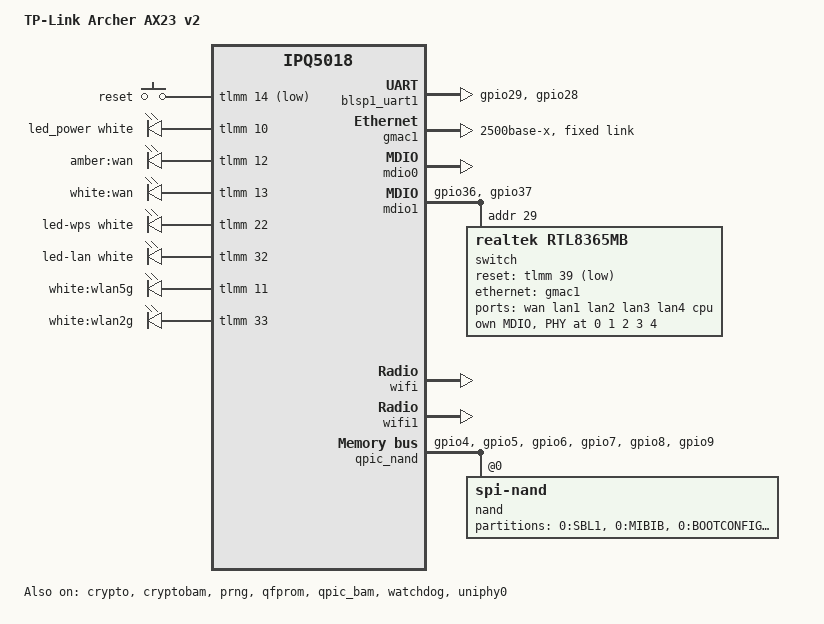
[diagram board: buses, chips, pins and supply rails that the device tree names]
// SPDX-License-Identifier: GPL-2.0-or-later OR MIT
/*
 * Device tree for TP-Link Archer AX23 v2
 *
 * SoC:    Qualcomm IPQ5018 (IPQ0509), Cortex-A53 dual-core
 * RAM:    256 MB DDR3 (CDT: AP-MP02.1_128M16_DDR3_LM256)
 * Flash:  SPI-NAND 128 MB, dual-image (rootfs + rootfs_1)
 * Switch: Realtek RTL8367 family D (chip ID 0x6642 per qca-ssdk.ko
 *         analysis; NOT yet read from the physical unit)
 *         Trunk on GMAC1 -> UNIPHY0 -> CPU port 6, reset GPIO39.
 *         Trunk mode is HSGMII 2.5G -- see the note above &gmac1.
 *         Matches the stock running.dts forced-speed and physical
 *         clock measurement. UNVERIFIED on hardware (no UART yet).
 * WiFi:   IPQ5018 internal (ath11k) 2.4 GHz
 *         QCN6102 (qcn6122 fw) 5 GHz via PCIe
 * UART:   GPIO28 (RX) / GPIO29 (TX), 115200 8N1, 1.8V
 *         Header JP1 — level-shifter SMDs removed by TP-Link
 *
 * Hardware confirmed via:
 *   - GPL source analysis (GPL_AX23v2.tar.gz)
 *   - OEM firmware 1.1.2 rootfs extraction + decryption
 *   - Stock kernel module analysis (qca-ssdk.ko ELF/L2P table/SerDes)
 *   - U-Boot DTB ax23_mp02.1.dtb extracted from kernel FIT image
 *   - OEM U-Boot DTB and UART logs reported by community member vram
 *     (physical hardware access, not this project's own) -- OpenWrt forum
 *     thread t/249493, see docs/HARDWARE.md and docs/CREDITS.md
 *   - partition_config/partition-table from rootfs
 *   - Physical clock measurement on live stock hardware (root shell via
 *     disclosed LuCI vulnerability, see docs/KNOWN-ISSUES.md): stock
 *     running.dts has forced-speed = <0x9c4> (2500) on ess-switch port@1;
 *     /sys/kernel/debug/clk/clk_summary reads gcc_uniphy_tx_clk,
 *     gcc_uniphy_rx_clk, gcc_gmac1_tx_clk, gcc_gmac1_rx_clk all at
 *     312,500,000 Hz, which matches HSGMII 2500Base-X line rate
 *     (312.5 MHz x 10-bit 8b/10b = 3.125 Gbps) and does not match
 *     SGMII 1G (which would read 125 MHz)
 *   - Switch reset GPIO read directly from the live device tree on real
 *     hardware (root shell): /proc/device-tree/soc/ess-instance/
 *     ess-switch1@1/reset_gpio = 0x27 (GPIO39). This supersedes the
 *     earlier GPIO33 assumption, which traced back to a UART boot log
 *     from a different physical unit (community member vram), not a
 *     direct reading of this device. GPIO33 is confirmed to be the
 *     2.4GHz LED, with no reset function
 *   - LED polarity and full 7-LED map confirmed 2026-11-12 by reading
 *     the live device tree runtime on stock hardware (root shell):
 *     /proc/device-tree/soc/leds/<name>/gpios for all 7 LEDs shows the
 *     GPIO_ACTIVE_LOW flag bit absent (flags field = 0) in every case,
 *     i.e. all 7 are GPIO_ACTIVE_HIGH per the gpio-specifier binding,
 *     not active-low as an earlier pass concluded from visual
 *     inspection alone. That earlier conclusion was wrong and is
 *     corrected here after community member Veraxis reported the
 *     power LED staying off in two separate hardware tests (v0.2 and
 *     v0.3 on an AX21 v5 identifying as this model).
 *     Still unverified: the phy0tpt/phy1tpt trigger assignment on the
 *     two WiFi LEDs below remains an inference from registration
 *     order, not confirmed against real phy0/phy1 enumeration. The
 *     polarity fix here does not touch or validate that assumption.
 */

/dts-v1/;

#include "ipq5018.dtsi"
#include "ipq5018-ess.dtsi"
#include "ipq5018-qcn6122.dtsi"

#include <dt-bindings/gpio/gpio.h>
#include <dt-bindings/input/input.h>
#include <dt-bindings/leds/common.h>
#include <dt-bindings/net/qca-uniphy.h>

/ {
	model = "TP-Link Archer AX23 v2";
	compatible = "tplink,archer-ax23-v2", "qcom,ipq5018";

	aliases {
		serial0 = &blsp1_uart1;
		ethernet1 = &gmac1;
		label-mac-device = <&gmac1>;
		led-boot = &led_power;
		led-failsafe = &led_power;
		led-running = &led_power;
		led-upgrade = &led_power;
	};

	chosen {
		stdout-path = "serial0:115200n8";
		bootargs-append = " root=/dev/ubiblock0_1 coherent_pool=2M";
	};

	keys {
		compatible = "gpio-keys";
		pinctrl-0 = <&button_pins>;
		pinctrl-names = "default";

		reset {
			label = "reset";
			gpios = <&tlmm 14 GPIO_ACTIVE_LOW>;
			linux,code = <KEY_RESTART>;
			debounce-interval = <60>;
		};
	};

	leds {
		compatible = "gpio-leds";
		pinctrl-0 = <&led_pins>;
		pinctrl-names = "default";

		led_power: led-power {
			function = LED_FUNCTION_POWER;
			color = <LED_COLOR_ID_WHITE>;
			gpios = <&tlmm 10 GPIO_ACTIVE_HIGH>;
			default-state = "on";
		};

		led-wan-orange {
			label = "amber:wan";
			gpios = <&tlmm 12 GPIO_ACTIVE_HIGH>;
		};

		led-wan {
			label = "white:wan";
			gpios = <&tlmm 13 GPIO_ACTIVE_HIGH>;
		};

		led-wps {
			function = LED_FUNCTION_WPS;
			color = <LED_COLOR_ID_WHITE>;
			gpios = <&tlmm 22 GPIO_ACTIVE_HIGH>;
		};

		led-lan {
			function = LED_FUNCTION_LAN;
			color = <LED_COLOR_ID_WHITE>;
			gpios = <&tlmm 32 GPIO_ACTIVE_HIGH>;
		};

		led-wifi-5g {
			label = "white:wlan5g";
			gpios = <&tlmm 11 GPIO_ACTIVE_HIGH>;
			linux,default-trigger = "phy0tpt";
		};

		/*
		 * phy1tpt is inferred, not boot-tested: &wifi (2.4GHz)
		 * is registered before &wifi1 (5GHz) in this DTS, and
		 * the 5GHz LED above already uses phy0tpt, so phy1 is
		 * assumed to map to the 2.4GHz radio by registration
		 * order. Confirm against actual phy0/phy1 enumeration
		 * on first real boot with both radios up.
		 */
		led-wifi-2g {
			label = "white:wlan2g";
			gpios = <&tlmm 33 GPIO_ACTIVE_HIGH>;
			linux,default-trigger = "phy1tpt";
		};
	};
};

&sleep_clk {
	clock-frequency = <32000>;
};

&xo_board_clk {
	clock-div = <4>;
	clock-mult = <1>;
};

&crypto { status = "okay"; };
&cryptobam { status = "okay"; };
&prng { status = "okay"; };
&qfprom { status = "okay"; };
&qpic_bam { status = "okay"; };
&watchdog { status = "okay"; };

&blsp1_uart1 {
	status = "okay";
	pinctrl-0 = <&serial_pins>;
	pinctrl-names = "default";
};

&gmac0 {
	status = "disabled";
};

/*
 * Trunk mode (GMAC1 <-> RTL8367 CPU port 6): HSGMII 2.5G.
 *
 * This device has five 1G physical ports (WAN + LAN1-4); no single
 * physical port on this SKU exceeds 1G. An earlier revision of this
 * DTS used that fact to argue for SGMII 1G instead, reasoning that
 * MODE_EXT_HSGMII / PORT_SPEED_2500M in the vendor U-Boot
 * (ipq5018_gmac.c, rtl8367_sw_init()) was generic SDK boilerplate
 * rather than a deliberate per-board choice, since that routine runs
 * unconditionally for any board with CONFIG_TP_EXT_SWITCH_RTL8367_ALL.
 *
 * That reasoning has been superseded by direct physical measurement.
 * The stock kernel's running.dts (the config that actually governs
 * runtime behaviour, not U-Boot's early generic bring-up) sets
 * forced-speed = <0x9c4> (2500) on this port, and reading
 * /sys/kernel/debug/clk/clk_summary on live stock hardware shows the
 * UNIPHY/GMAC1 tx and rx clocks locked at 312,500,000 Hz -- the exact
 * rate for HSGMII 2500Base-X (312.5 MHz x 10-bit = 3.125 Gbps line
 * rate), not SGMII 1G (which would be 125 MHz). This is a measurement
 * of the running system, not an interpretation of static firmware.
 *
 * Why the OEM would run HSGMII with no single port above 1G is not
 * fully confirmed: the working theory is that aggregate throughput
 * across WAN + LAN + 2.4GHz/5GHz WiFi (estimated ~1.75-1.8 Gbps) can
 * exceed what a 1G trunk allows even though no individual port does,
 * and since there is no native "1.8G" electrical mode on this
 * SerDes/switch, HSGMII 2.5G was the only mode that covers it. This
 * throughput estimate has not been measured or confirmed, and is
 * noted here as the leading hypothesis, not a proven fact.
 *
 * Driver support: patches 777-07/777-08 in this tree already carry
 * rtl8365mb_d_sds_jam_hsgmii (family D HSGMII tuning table) and the
 * RTL8365MB_D_SDS_MISC_MODE_HSGMII (0x12) path for
 * PHY_INTERFACE_MODE_2500BASEX. Upstream precedent: ipq5018-archer-
 * ax55-v1.dts (same IPQ5018 + RTL8367S + GPIO33 reset topology) uses
 * this same phy-mode/speed/refclk combination.
 *
 * STILL UNVERIFIED on physical hardware (no UART console available
 * for this build): clock measurement confirms the stock kernel's
 * configuration, not that this kernel (6.x, DSA, patches 777-0x) will
 * bring the link up and pass traffic cleanly. If the trunk does not
 * come up, SGMII 1G (the configuration this DTS used before this
 * change) is the fallback to try.
 *
 * pause is set on both fixed-link nodes below (gmac1 and the switch's
 * port@6). This trunk aggregates five 1G physical ports (plus WiFi)
 * onto a single 2.5G link, the same over-subscription scenario a
 * third party measured elsewhere causing roughly 13% UDP loss without
 * pause when the switch could not backpressure the 2.5G GMAC against
 * slower physical ports. Whether this tree's family D driver patches
 * (777-07/777-08) actually program the pause bits for this path has
 * not been independently re-verified alongside this change.
 */
&gmac1 {
	status = "okay";
	phy-mode = "2500base-x";

	fixed-link {
		speed = <2500>;
		full-duplex;
		pause;
	};
};

&uniphy0 {
	status = "okay";

	assigned-clocks = <&uniphy0 UNIPHY_CLK_REF>;
	assigned-clock-rates = <UNIPHY_REFCLK_50MHZ>;
};

&mdio0 {
	status = "okay";
};

&mdio1 {
	status = "okay";
	pinctrl-0 = <&mdio1_pins>;
	pinctrl-names = "default";

	switch@1d {
		compatible = "realtek,rtl8365mb";
		reg = <29>;

		reset-gpios = <&tlmm 39 GPIO_ACTIVE_LOW>;

		mdio {
			compatible = "realtek,smi-mdio";
			#address-cells = <1>;
			#size-cells = <0>;

			ax23_phy0: ethernet-phy@0 {
				reg = <0>;
			};

			ax23_phy1: ethernet-phy@1 {
				reg = <1>;
			};

			ax23_phy2: ethernet-phy@2 {
				reg = <2>;
			};

			ax23_phy3: ethernet-phy@3 {
				reg = <3>;
			};

			ax23_phy4: ethernet-phy@4 {
				reg = <4>;
			};
		};

		ports {
			#address-cells = <1>;
			#size-cells = <0>;

			port@0 {
				reg = <0>;
				label = "wan";
				phy-handle = <&ax23_phy0>;
			};

			port@1 {
				reg = <1>;
				label = "lan1";
				phy-handle = <&ax23_phy1>;
			};

			port@2 {
				reg = <2>;
				label = "lan2";
				phy-handle = <&ax23_phy2>;
			};

			port@3 {
				reg = <3>;
				label = "lan3";
				phy-handle = <&ax23_phy3>;
			};

			port@4 {
				reg = <4>;
				label = "lan4";
				phy-handle = <&ax23_phy4>;
			};

			port@6 {
				reg = <6>;
				label = "cpu";
				ethernet = <&gmac1>;
				phy-mode = "2500base-x";

				fixed-link {
					speed = <2500>;
					full-duplex;
					pause;
				};
			};
		};
	};
};

&q6v5_wcss {
	boot-args = <0x2 0x4 0x2 0x1b 0x0 0x0>;
};

&wifi {
	status = "okay";
	qcom,rproc = <&q6_wcss_pd1>;
	qcom,ath11k-calibration-variant = "TP-Link-Archer-AX23-v2";
	qcom,ath11k-fw-memory-mode = <2>;
	qcom,bdf-addr = <0x4c400000>;
};

&wifi1 {
	status = "okay";
	qcom,rproc = <&q6_wcss_pd2>;
	qcom,userpd-subsys-name = "q6v5_wcss_userpd2";
	qcom,ath11k-calibration-variant = "TP-Link-Archer-AX23-v2";
	qcom,ath11k-fw-memory-mode = <2>;
	qcom,bdf-addr = <0x4d100000>;
	qcom,m3-dump-addr = <0x4df00000>;
};

&blsp1_spi1 {
	status = "disabled";
};

&qpic_nand {
	status = "okay";
	pinctrl-0 = <&qpic_pins>;
	pinctrl-names = "default";

	nand@0 {
		compatible = "spi-nand";
		reg = <0>;
		nand-ecc-engine = <&qpic_nand>;
		nand-ecc-strength = <4>;
		nand-ecc-step-size = <512>;
		nand-bus-width = <8>;

		partitions {
			compatible = "fixed-partitions";
			#address-cells = <1>;
			#size-cells = <1>;

			partition@0 {
				label = "0:SBL1";
				reg = <0x000000 0x080000>;
				read-only;
			};

			partition@80000 {
				label = "0:MIBIB";
				reg = <0x080000 0x080000>;
				read-only;
			};

			partition@100000 {
				label = "0:BOOTCONFIG";
				reg = <0x100000 0x040000>;
				read-only;
			};

			partition@140000 {
				label = "0:BOOTCONFIG1";
				reg = <0x140000 0x040000>;
				read-only;
			};

			partition@180000 {
				label = "0:QSEE";
				reg = <0x180000 0x100000>;
				read-only;
			};

			partition@280000 {
				label = "0:DEVCFG";
				reg = <0x280000 0x040000>;
				read-only;
			};

			partition@2c0000 {
				label = "0:CDT";
				reg = <0x2c0000 0x040000>;
				read-only;
			};

			partition@300000 {
				label = "0:APPSBLENV";
				reg = <0x300000 0x080000>;
			};

			partition@380000 {
				label = "0:APPSBL";
				reg = <0x380000 0x140000>;
				read-only;
			};

			partition@4c0000 {
				label = "0:ART";
				reg = <0x4c0000 0x100000>;
				read-only;
			};

			partition@5c0000 {
				label = "0:TRAINING";
				reg = <0x5c0000 0x080000>;
				read-only;
			};

			partition@640000 {
				label = "rootfs";
				reg = <0x640000 0x3580000>;
			};

			partition@3bc0000 {
				label = "rootfs_1";
				reg = <0x3bc0000 0x3580000>;
			};

			partition@7140000 {
				label = "tp_data";
				reg = <0x7140000 0x840000>;
				read-only;
			};

			partition@7980000 {
				label = "radio";
				reg = <0x7980000 0x440000>;
				read-only;
			};

			partition@7dc0000 {
				label = "data";
				reg = <0x7dc0000 0x080000>;
			};
		};
	};
};

&tlmm {
	button_pins: button-pins {
		pins = "gpio14";
		function = "gpio";
		drive-strength = <2>;
		bias-pull-up;
	};

	led_pins: led-pins {
		pins = "gpio10", "gpio11", "gpio12", "gpio13",
		       "gpio22", "gpio32", "gpio33";
		function = "gpio";
		drive-strength = <8>;
		bias-pull-down;
	};

	mdio1_pins: mdio1-pins {
		mdc {
			pins = "gpio36";
			function = "mdc";
			drive-strength = <8>;
			bias-pull-up;
		};
		mdio {
			pins = "gpio37";
			function = "mdio";
			drive-strength = <8>;
			bias-pull-up;
		};
	};

	qpic_pins: qpic-pins {
		data {
			pins = "gpio4", "gpio5", "gpio6", "gpio7";
			function = "qspi_data";
			drive-strength = <8>;
			bias-pull-up;
		};
		cs {
			pins = "gpio8";
			function = "qspi_cs";
			drive-strength = <8>;
			bias-pull-up;
		};
		clk {
			pins = "gpio9";
			function = "qspi_clk";
			drive-strength = <8>;
			bias-pull-up;
		};
	};

	serial_pins: serial-pins {
		tx-pins {
			pins = "gpio29";
			function = "blsp0_uart1";
			drive-strength = <8>;
			bias-disable;
		};
		rx-pins {
			pins = "gpio28";
			function = "blsp0_uart1";
			drive-strength = <8>;
			bias-disable;
		};
	};
};
